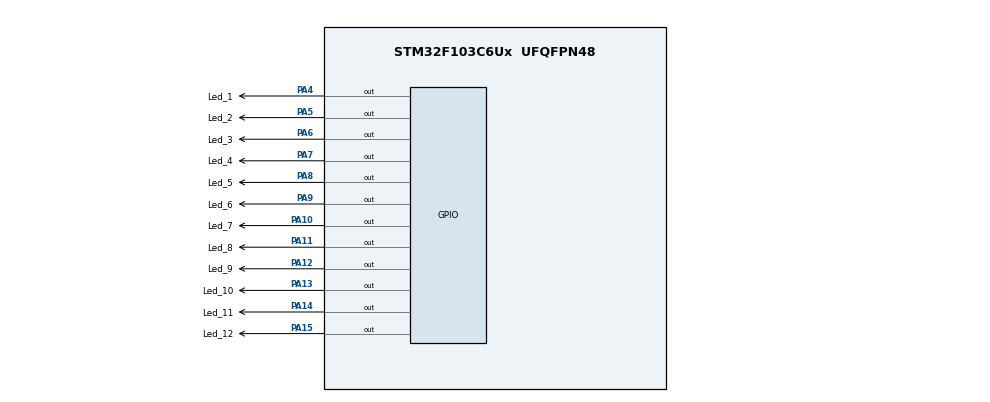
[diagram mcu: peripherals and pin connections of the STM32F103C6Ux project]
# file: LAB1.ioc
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Mcu.Family=STM32F1
Mcu.Name=STM32F103C6Ux
Mcu.Package=UFQFPN48
NVIC.PriorityGroup=NVIC_PRIORITYGROUP_4
PA10.GPIO_Label=Led_7
PA10.Signal=GPIO_Output
PA11.GPIO_Label=Led_8
PA11.Signal=GPIO_Output
PA12.GPIO_Label=Led_9
PA12.Signal=GPIO_Output
PA13.GPIO_Label=Led_10
PA13.Signal=GPIO_Output
PA14.GPIO_Label=Led_11
PA14.Signal=GPIO_Output
PA15.GPIO_Label=Led_12
PA15.Signal=GPIO_Output
PA4.GPIO_Label=Led_1
PA4.Signal=GPIO_Output
PA5.GPIO_Label=Led_2
PA5.Signal=GPIO_Output
PA6.GPIO_Label=Led_3
PA6.Signal=GPIO_Output
PA7.GPIO_Label=Led_4
PA7.Signal=GPIO_Output
PA8.GPIO_Label=Led_5
PA8.Signal=GPIO_Output
PA9.GPIO_Label=Led_6
PA9.Signal=GPIO_Output
ProjectManager.HeapSize=0x200
ProjectManager.StackSize=0x400
ProjectManager.TargetToolchain=STM32CubeIDE
RCC.APB1Freq_Value=8000000
RCC.APB2Freq_Value=8000000
VP_SYS_VS_ND.Mode=No_Debug
board=custom

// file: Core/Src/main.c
/* USER CODE BEGIN Header */
/**
  ******************************************************************************
  * @file           : main.c
  * @brief          : Main program body
  ******************************************************************************
  * @attention
  *
  * <h2><center>&copy; Copyright (c) 2024 STMicroelectronics.
  * All rights reserved.</center></h2>
  *
  * This software component is licensed by ST under BSD 3-Clause license,
  * the "License"; You may not use this file except in compliance with the
  * License. You may obtain a copy of the License at:
  *                        opensource.org/licenses/BSD-3-Clause
  *
  ******************************************************************************
  */
/* USER CODE END Header */
#include "main.h"

void SystemClock_Config(void);
static void MX_GPIO_Init(void);

/* USER CODE BEGIN 0 */
void clearAllClock(){
	HAL_GPIO_WritePin(Led_1_GPIO_Port, Led_1_Pin, RESET);
	HAL_GPIO_WritePin(Led_2_GPIO_Port, Led_2_Pin, RESET);
	HAL_GPIO_WritePin(Led_3_GPIO_Port, Led_3_Pin, RESET);
	HAL_GPIO_WritePin(Led_4_GPIO_Port, Led_4_Pin, RESET);
	HAL_GPIO_WritePin(Led_5_GPIO_Port, Led_5_Pin, RESET);
	HAL_GPIO_WritePin(Led_6_GPIO_Port, Led_6_Pin, RESET);
	HAL_GPIO_WritePin(Led_7_GPIO_Port, Led_7_Pin, RESET);
	HAL_GPIO_WritePin(Led_8_GPIO_Port, Led_8_Pin, RESET);
	HAL_GPIO_WritePin(Led_9_GPIO_Port, Led_9_Pin, RESET);
	HAL_GPIO_WritePin(Led_10_GPIO_Port, Led_10_Pin, RESET);
	HAL_GPIO_WritePin(Led_11_GPIO_Port, Led_11_Pin, RESET);
	HAL_GPIO_WritePin(Led_12_GPIO_Port, Led_12_Pin, RESET);
}
void setNumberOnClock(int num){
	if(num==1){
		HAL_GPIO_WritePin(Led_1_GPIO_Port, Led_1_Pin, SET);
	}
	if(num==2){
		HAL_GPIO_WritePin(Led_2_GPIO_Port, Led_2_Pin, SET);
	}
	if(num==3){
		HAL_GPIO_WritePin(Led_3_GPIO_Port, Led_3_Pin, SET);
	}
	if(num==4){
		HAL_GPIO_WritePin(Led_4_GPIO_Port, Led_4_Pin, SET);
	}
	if(num==5){
		HAL_GPIO_WritePin(Led_5_GPIO_Port, Led_5_Pin, SET);
	}
	if(num==6){
		HAL_GPIO_WritePin(Led_6_GPIO_Port, Led_6_Pin, SET);
	}
	if(num==7){
		HAL_GPIO_WritePin(Led_7_GPIO_Port, Led_7_Pin, SET);
	}
	if(num==8){
		HAL_GPIO_WritePin(Led_8_GPIO_Port, Led_8_Pin, SET);
	}
	if(num==9){
		HAL_GPIO_WritePin(Led_9_GPIO_Port, Led_9_Pin, SET);
	}
	if(num==10){
		HAL_GPIO_WritePin(Led_10_GPIO_Port, Led_10_Pin, SET);
	}
	if(num==11){
		HAL_GPIO_WritePin(Led_11_GPIO_Port, Led_11_Pin, SET);
	}
	if(num==12){
		HAL_GPIO_WritePin(Led_12_GPIO_Port, Led_12_Pin, SET);
	}
}
void clearNumberOnClock(int num){
	if(num==1){
		HAL_GPIO_WritePin(Led_1_GPIO_Port, Led_1_Pin, RESET);
	}
	if(num==2){
		HAL_GPIO_WritePin(Led_2_GPIO_Port, Led_2_Pin, RESET);
	}
	if(num==3){
		HAL_GPIO_WritePin(Led_3_GPIO_Port, Led_3_Pin, RESET);
	}
	if(num==4){
		HAL_GPIO_WritePin(Led_4_GPIO_Port, Led_4_Pin, RESET);
	}
	if(num==5){
		HAL_GPIO_WritePin(Led_5_GPIO_Port, Led_5_Pin, RESET);
	}
	if(num==6){
		HAL_GPIO_WritePin(Led_6_GPIO_Port, Led_6_Pin, RESET);
	}
	if(num==7){
		HAL_GPIO_WritePin(Led_7_GPIO_Port, Led_7_Pin, RESET);
	}
	if(num==8){
		HAL_GPIO_WritePin(Led_8_GPIO_Port, Led_8_Pin, RESET);
	}
	if(num==9){
		HAL_GPIO_WritePin(Led_9_GPIO_Port, Led_9_Pin, RESET);
	}
	if(num==10){
		HAL_GPIO_WritePin(Led_10_GPIO_Port, Led_10_Pin, RESET);
	}
	if(num==11){
		HAL_GPIO_WritePin(Led_11_GPIO_Port, Led_11_Pin, RESET);
	}
	if(num==12){
		HAL_GPIO_WritePin(Led_12_GPIO_Port, Led_12_Pin, RESET);
	}
}
/* USER CODE END 0 */

int main(void)
{

  /* MCU Configuration--------------------------------------------------------*/

  /* Reset of all peripherals, Initializes the Flash interface and the Systick. */
  HAL_Init();

  /* Configure the system clock */
  SystemClock_Config();

  /* Initialize all configured peripherals */
  MX_GPIO_Init();

  /* Infinite loop */
  /* USER CODE BEGIN WHILE */
  int h_count=12;
  int m_count=0;
  int s_count=0;
  int flag=0;
  while (1)
  {
    /* USER CODE END WHILE */
	  if(h_count!=(s_count/5)-1 || m_count!=(s_count/5)-1){
	  		  clearNumberOnClock((s_count/5)-1);
	  		  if((s_count/5)-1==0){
				  clearNumberOnClock(12);
			  }
	  		  if(flag==1){
	  			  clearNumberOnClock(11);
	  			  flag=0;
	  		  }
	  	  }
	  	  if(h_count!=(m_count/5)-1){
	  		  clearNumberOnClock((m_count/5)-1);
	  		  if((m_count/5)-1==0){
				  clearNumberOnClock(12);
			  }
	  		  if(flag==1){
	  			  clearNumberOnClock(11);
	  			  flag=0;
	  		  }
	  	  }
	  	  setNumberOnClock(h_count);
	  	  setNumberOnClock(m_count/5);
	  	  setNumberOnClock(s_count/5);
	  	  if(m_count/5==0) setNumberOnClock(12);
	  	  if(s_count/5==0) setNumberOnClock(12);

	  	  s_count++;

	  	  if(s_count>=60){
	  		  m_count++;
	  		  s_count=0;
	  		  flag=1;
	  	  }
	  	  if(m_count>=60){
	  		  h_count++;
	  		  m_count=0;
	  		  flag=1;
	  	  }
	  	  if(h_count>12){
	  		  h_count=1;
	  	  }

	  	  HAL_Delay(20);
  }
}

void SystemClock_Config(void)
{
  RCC_OscInitTypeDef RCC_OscInitStruct = {0};
  RCC_ClkInitTypeDef RCC_ClkInitStruct = {0};

  /** Initializes the RCC Oscillators according to the specified parameters
  * in the RCC_OscInitTypeDef structure.
  */
  RCC_OscInitStruct.OscillatorType = RCC_OSCILLATORTYPE_HSI;
  RCC_OscInitStruct.HSIState = RCC_HSI_ON;
  RCC_OscInitStruct.HSICalibrationValue = RCC_HSICALIBRATION_DEFAULT;
  RCC_OscInitStruct.PLL.PLLState = RCC_PLL_NONE;
  if (HAL_RCC_OscConfig(&RCC_OscInitStruct) != HAL_OK)
  {
    Error_Handler();
  }
  /** Initializes the CPU, AHB and APB buses clocks
  */
  RCC_ClkInitStruct.ClockType = RCC_CLOCKTYPE_HCLK|RCC_CLOCKTYPE_SYSCLK
                              |RCC_CLOCKTYPE_PCLK1|RCC_CLOCKTYPE_PCLK2;
  RCC_ClkInitStruct.SYSCLKSource = RCC_SYSCLKSOURCE_HSI;
  RCC_ClkInitStruct.AHBCLKDivider = RCC_SYSCLK_DIV1;
  RCC_ClkInitStruct.APB1CLKDivider = RCC_HCLK_DIV1;
  RCC_ClkInitStruct.APB2CLKDivider = RCC_HCLK_DIV1;

  if (HAL_RCC_ClockConfig(&RCC_ClkInitStruct, FLASH_LATENCY_0) != HAL_OK)
  {
    Error_Handler();
  }
}

static void MX_GPIO_Init(void)
{
  GPIO_InitTypeDef GPIO_InitStruct = {0};

  /* GPIO Ports Clock Enable */
  __HAL_RCC_GPIOA_CLK_ENABLE();

  /*Configure GPIO pin Output Level */
  HAL_GPIO_WritePin(GPIOA, Led_1_Pin|Led_2_Pin|Led_3_Pin|Led_4_Pin
                          |Led_5_Pin|Led_6_Pin|Led_7_Pin|Led_8_Pin
                          |Led_9_Pin|Led_10_Pin|Led_11_Pin|Led_12_Pin, GPIO_PIN_RESET);

  /*Configure GPIO pins : Led_1_Pin Led_2_Pin Led_3_Pin Led_4_Pin
                           Led_5_Pin Led_6_Pin Led_7_Pin Led_8_Pin
                           Led_9_Pin Led_10_Pin Led_11_Pin Led_12_Pin */
  GPIO_InitStruct.Pin = Led_1_Pin|Led_2_Pin|Led_3_Pin|Led_4_Pin
                          |Led_5_Pin|Led_6_Pin|Led_7_Pin|Led_8_Pin
                          |Led_9_Pin|Led_10_Pin|Led_11_Pin|Led_12_Pin;
  GPIO_InitStruct.Mode = GPIO_MODE_OUTPUT_PP;
  GPIO_InitStruct.Pull = GPIO_NOPULL;
  GPIO_InitStruct.Speed = GPIO_SPEED_FREQ_LOW;
  HAL_GPIO_Init(GPIOA, &GPIO_InitStruct);

}

void Error_Handler(void)
{
  __disable_irq();
  while (1)
  {
  }
}

/************************ (C) COPYRIGHT STMicroelectronics *****END OF FILE****/
